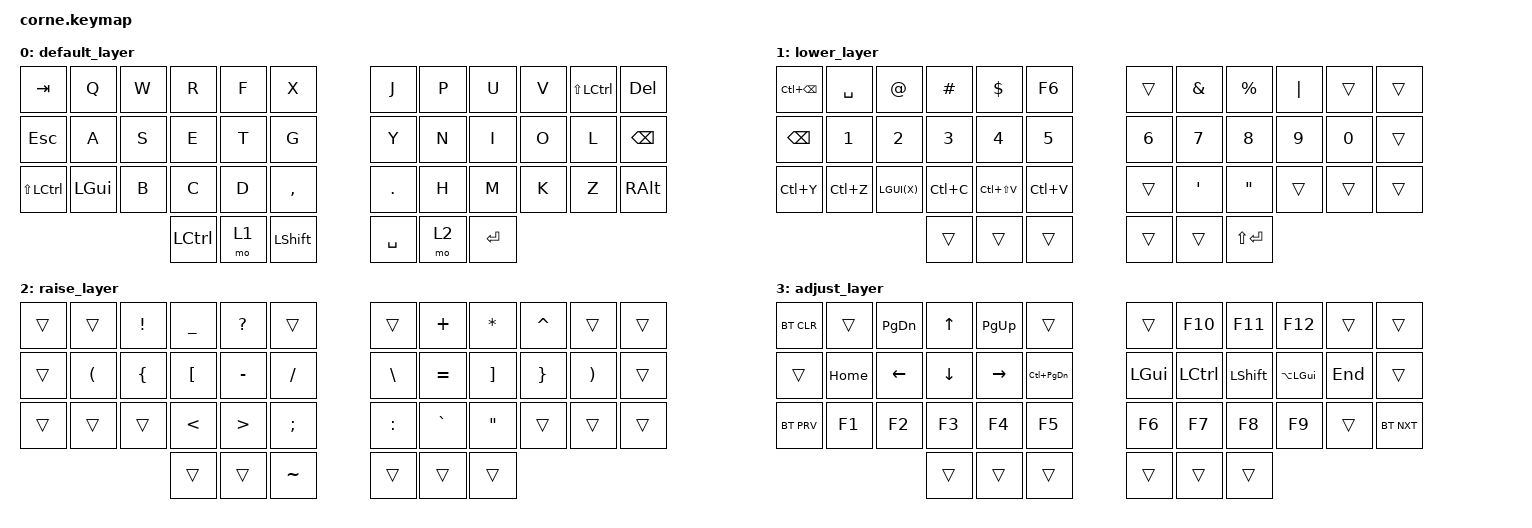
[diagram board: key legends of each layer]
/*
 * Copyright (c) 2020 The ZMK Contributors
 *
 * SPDX-License-Identifier: MIT
 */

#include <behaviors.dtsi>
#include <dt-bindings/zmk/keys.h>
#include <dt-bindings/zmk/bt.h>

/ {
    keymap {
            compatible = "zmk,keymap";
            default_layer {
                    bindings = <
    &kp TAB       &kp Q    &kp W &kp R &kp F &kp X               &kp J     &kp P &kp U &kp V &kp LS(LCTRL) &kp DEL
    &kp ESC       &kp A    &kp S &kp E &kp T &kp G               &kp Y     &kp N &kp I &kp O &kp L         &kp BSPC
    &kp LS(LCTRL) &kp LGUI &kp B &kp C &kp D &kp COMMA           &kp DOT   &kp H &kp M &kp K &kp Z         &kp RALT
                           &kp LCTRL   &mo 1 &kp LSHFT           &kp SPACE &mo 2 &kp RET
                    >;
            };

            lower_layer {
                    bindings = <
    &kp LC(BSPC) &kp SPACE &kp AT    &kp HASH  &kp DOLLAR    &kp F6             &trans &kp AMPS &kp PERCENT &kp PIPE &trans &trans
    &kp BSPC     &kp N1    &kp N2    &kp N3    &kp N4        &kp N5             &kp N6 &kp N7   &kp N8      &kp N9   &kp N0 &trans
    &kp LC(Y)    &kp LC(Z) &kp LGUI(X) &kp LC(C) &kp LC(LS(V)) &kp LC(V)          &trans &kp SQT  &kp DQT     &trans   &trans &trans
                                     &trans    &trans        &trans             &trans &trans   &kp LS(RET)
                    >;
            };

            raise_layer {
                    bindings = <
    &trans  &trans   &kp EXCL &kp UNDER &kp QMARK &trans                &trans    &kp PLUS  &kp STAR &kp CARET &trans   &trans
    &trans  &kp LPAR &kp LBRC &kp LBKT  &kp MINUS &kp FSLH              &kp BSLH  &kp EQUAL &kp RBKT &kp RBRC  &kp RPAR &trans
    &trans  &trans   &trans   &kp LT    &kp GT    &kp SEMI              &kp COLON &kp GRAVE &kp DQT  &trans    &trans   &trans
                              &trans    &trans    &kp TILDE             &trans    &trans    &trans
                    >;
            };
                adjust_layer {
                    bindings = <
    &bt BT_CLR &trans   &kp PG_DN &kp UP    &kp PG_UP &trans                &trans   &kp F10   &kp F11    &kp F12      &trans  &trans
    &trans     &kp HOME &kp LEFT  &kp DOWN  &kp RIGHT &kp LC(PG_DN)         &kp LGUI &kp LCTRL &kp LSHIFT &kp LA(LGUI) &kp END &trans
    &bt BT_PRV &kp F1   &kp F2    &kp F3    &kp F4    &kp F5                &kp F6   &kp F7    &kp F8     &kp F9       &trans  &bt BT_NXT
                                  &trans    &trans    &trans                &trans   &trans    &trans
                    >;
            };
    };
};

/ {
    conditional_layers {
        compatible = "zmk,conditional-layers";
        tri_layer {
            if-layers = <1 2>;
            then-layer = <3>;
        };
    };
};
